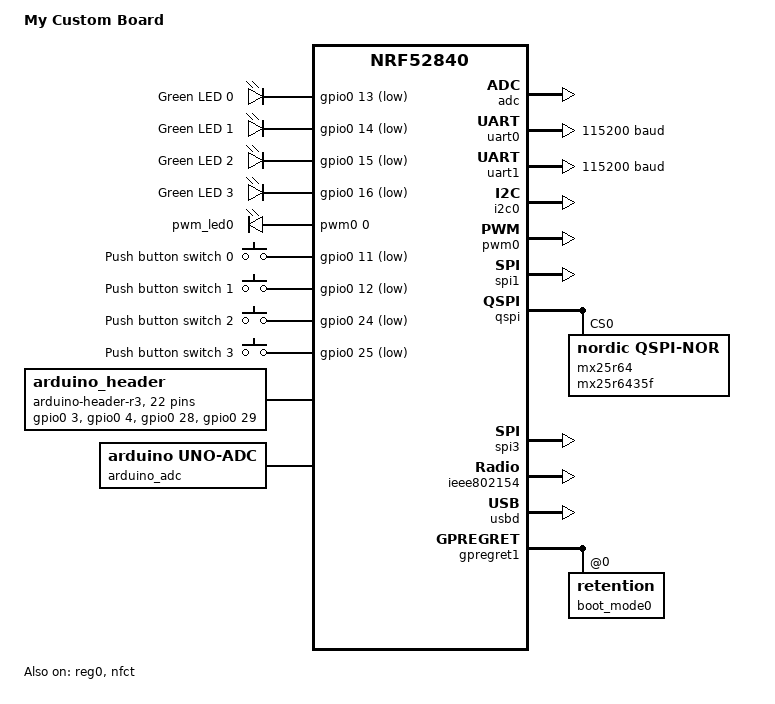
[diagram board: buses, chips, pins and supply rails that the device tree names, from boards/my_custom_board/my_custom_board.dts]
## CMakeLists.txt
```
cmake_minimum_required(VERSION 3.20.0)

list(APPEND BOARD_ROOT ${CMAKE_CURRENT_SOURCE_DIR})
find_package(Zephyr REQUIRED)
project(my_zephyr_app)

target_sources(app PRIVATE src/main.cpp)

add_subdirectory(drivers/pas_driver)
```

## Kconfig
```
config APP_HEARTBEAT_PERIOD_MS
    int "App heartbeat period ms (100-2000)"
    range 100 2000
    default 500

source "Kconfig.zephyr"
rsource "drivers/pas_driver/Kconfig"
```

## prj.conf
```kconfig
CONFIG_GPIO=y
CONFIG_LOG=y
CONFIG_PAS_DRIVER=y
CONFIG_SHELL=y
```

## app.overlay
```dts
/ {
	aliases {
		app-led = &led0;
	};

	pas_driver0: pas_driver {
		compatible = "pas,driver";
		status = "okay";
		app-led = &led0;
	};
};
```

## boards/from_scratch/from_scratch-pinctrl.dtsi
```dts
&pinctrl {
	uart0_default: uart0_default {
		group1 {
			psels = <NRF_PSEL(UART_TX, 0, 6)>,
				<NRF_PSEL(UART_RTS, 0, 5)>;
		};

		group2 {
			psels = <NRF_PSEL(UART_RX, 0, 8)>,
				<NRF_PSEL(UART_CTS, 0, 7)>;
			bias-pull-up;
		};
	};

	uart0_sleep: uart0_sleep {
		group1 {
			psels = <NRF_PSEL(UART_TX, 0, 6)>,
				<NRF_PSEL(UART_RX, 0, 8)>,
				<NRF_PSEL(UART_RTS, 0, 5)>,
				<NRF_PSEL(UART_CTS, 0, 7)>;
			low-power-enable;
		};
	};
};
```

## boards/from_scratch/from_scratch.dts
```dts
/dts-v1/;
#include <nordic/nrf52840_qiaa.dtsi>
#include <nordic/nrf52840_partition.dtsi>
#include "from_scratch-pinctrl.dtsi"

/ {
	model = "From Scratch";
	compatible = "pas,from-scratch";

	chosen {
		zephyr,console = &uart0;
	};

	leds {
		compatible = "gpio-leds";

		led0: led_0 {
			gpios = <&gpio0 13 GPIO_ACTIVE_LOW>;
			label = "Green LED 0";
		};
	};

	aliases {
		led0 = &led0;
		watchdog0 = &wdt0;
	};
};

&reg0 {
	status = "okay";
};

&reg1 {
	regulator-initial-mode = <NRF5X_REG_MODE_DCDC>;
};

&gpiote {
	status = "okay";
};

&gpio0 {
	status = "okay";
};

&uart0 {
	compatible = "nordic,nrf-uarte";
	status = "okay";
	current-speed = <115200>;
	pinctrl-0 = <&uart0_default>;
	pinctrl-1 = <&uart0_sleep>;
	pinctrl-names = "default", "sleep";
};
```

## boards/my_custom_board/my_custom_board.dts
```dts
/*
 * Copyright (c) 2017 Linaro Limited
 *
 * SPDX-License-Identifier: Apache-2.0
 */

/dts-v1/;
#include <nordic/nrf52840_qiaa.dtsi>
#include <nordic/nrf52840_partition.dtsi>
#include "my_custom_board-pinctrl.dtsi"
#include <zephyr/dt-bindings/input/input-event-codes.h>

/ {
	model = "My Custom Board";
	compatible = "nordic,nrf52840-dk-nrf52840";

	chosen {
		zephyr,console = &uart0;
		zephyr,shell-uart = &uart0;
		zephyr,uart-mcumgr = &uart0;
		zephyr,bt-mon-uart = &uart0;
		zephyr,bt-c2h-uart = &uart0;
		zephyr,ieee802154 = &ieee802154;
		zephyr,boot-mode = &boot_mode0;
	};

	leds {
		compatible = "gpio-leds";

		led0: led_0 {
			gpios = <&gpio0 13 GPIO_ACTIVE_LOW>;
			label = "Green LED 0";
		};

		led1: led_1 {
			gpios = <&gpio0 14 GPIO_ACTIVE_LOW>;
			label = "Green LED 1";
		};

		led2: led_2 {
			gpios = <&gpio0 15 GPIO_ACTIVE_LOW>;
			label = "Green LED 2";
		};

		led3: led_3 {
			gpios = <&gpio0 16 GPIO_ACTIVE_LOW>;
			label = "Green LED 3";
		};
	};

	pwmleds {
		compatible = "pwm-leds";

		pwm_led0: pwm_led_0 {
			pwms = <&pwm0 0 PWM_MSEC(20) PWM_POLARITY_INVERTED>;
		};
	};

	buttons {
		compatible = "gpio-keys";

		button0: button_0 {
			gpios = <&gpio0 11 (GPIO_PULL_UP | GPIO_ACTIVE_LOW)>;
			label = "Push button switch 0";
			zephyr,code = <INPUT_KEY_0>;
		};

		button1: button_1 {
			gpios = <&gpio0 12 (GPIO_PULL_UP | GPIO_ACTIVE_LOW)>;
			label = "Push button switch 1";
			zephyr,code = <INPUT_KEY_1>;
		};

		button2: button_2 {
			gpios = <&gpio0 24 (GPIO_PULL_UP | GPIO_ACTIVE_LOW)>;
			label = "Push button switch 2";
			zephyr,code = <INPUT_KEY_2>;
		};

		button3: button_3 {
			gpios = <&gpio0 25 (GPIO_PULL_UP | GPIO_ACTIVE_LOW)>;
			label = "Push button switch 3";
			zephyr,code = <INPUT_KEY_3>;
		};
	};

	arduino_header: connector {
		compatible = "arduino-header-r3";
		#gpio-cells = <2>;
		gpio-map-mask = <0xffffffff 0xffffffc0>;
		gpio-map-pass-thru = <0 0x3f>;
		gpio-map = <0 0 &gpio0 3 0>,	/* A0 */
			   <1 0 &gpio0 4 0>,	/* A1 */
			   <2 0 &gpio0 28 0>,	/* A2 */
			   <3 0 &gpio0 29 0>,	/* A3 */
			   <4 0 &gpio0 30 0>,	/* A4 */
			   <5 0 &gpio0 31 0>,	/* A5 */
			   <6 0 &gpio1 1 0>,	/* D0 */
			   <7 0 &gpio1 2 0>,	/* D1 */
			   <8 0 &gpio1 3 0>,	/* D2 */
			   <9 0 &gpio1 4 0>,	/* D3 */
			   <10 0 &gpio1 5 0>,	/* D4 */
			   <11 0 &gpio1 6 0>,	/* D5 */
			   <12 0 &gpio1 7 0>,	/* D6 */
			   <13 0 &gpio1 8 0>,	/* D7 */
			   <14 0 &gpio1 10 0>,	/* D8 */
			   <15 0 &gpio1 11 0>,	/* D9 */
			   <16 0 &gpio1 12 0>,	/* D10 */
			   <17 0 &gpio1 13 0>,	/* D11 */
			   <18 0 &gpio1 14 0>,	/* D12 */
			   <19 0 &gpio1 15 0>,	/* D13 */
			   <20 0 &gpio0 26 0>,	/* D14 */
			   <21 0 &gpio0 27 0>;	/* D15 */
	};

	arduino_adc: analog-connector {
		compatible = "arduino,uno-adc";
		#io-channel-cells = <1>;
		io-channel-map = <0 &adc 1>,	/* A0 = P0.3 = AIN1 */
				 <1 &adc 2>,	/* A1 = P0.4 = AIN2 */
				 <2 &adc 4>,	/* A2 = P0.28 = AIN4 */
				 <3 &adc 5>,	/* A3 = P0.29 = AIN5 */
				 <4 &adc 6>,	/* A4 = P0.30 = AIN6 */
				 <5 &adc 7>;	/* A5 = P0.31 = AIN7 */
	};

	/* These aliases are provided for compatibility with samples */
	aliases {
		led0 = &led0;
		led1 = &led1;
		led2 = &led2;
		led3 = &led3;
		pwm-led0 = &pwm_led0;
		sw0 = &button0;
		sw1 = &button1;
		sw2 = &button2;
		sw3 = &button3;
		bootloader-led0 = &led0;
		mcuboot-button0 = &button0;
		mcuboot-led0 = &led0;
		watchdog0 = &wdt0;
	};
};

&reg0 {
	status = "okay";
};

&reg1 {
	regulator-initial-mode = <NRF5X_REG_MODE_DCDC>;
};

&adc {
	status = "okay";
};

&uicr {
	gpio-as-nreset;
};

&gpiote {
	status = "okay";
};

&nfct {
	status = "okay";
};

&gpio0 {
	status = "okay";
	gpio-reserved-ranges = <0 2>, <6 1>, <8 3>, <17 7>;
	gpio-line-names = "XL1", "XL2", "AREF", "A0", "A1", "RTS", "TXD",
		"CTS", "RXD", "NFC1", "NFC2", "BUTTON1", "BUTTON2", "LED1",
		"LED2", "LED3", "LED4", "QSPI CS", "RESET", "QSPI CLK",
		"QSPI DIO0", "QSPI DIO1", "QSPI DIO2", "QSPI DIO3","BUTTON3",
		"BUTTON4", "SDA", "SCL", "A2", "A3", "A4", "A5";
};

&gpio1 {
	status = "okay";
	gpio-line-names = "", "D0", "D1", "D2", "D3", "D4", "D5", "D6",
		"D7", "", "D8", "D9", "D10", "D11", "D12", "D13";
};

&uart0 {
	compatible = "nordic,nrf-uarte";
	status = "okay";
	current-speed = <115200>;
	pinctrl-0 = <&uart0_default>;
	pinctrl-1 = <&uart0_sleep>;
	pinctrl-names = "default", "sleep";
};

arduino_serial: &uart1 {
	current-speed = <115200>;
	pinctrl-0 = <&uart1_default>;
	pinctrl-1 = <&uart1_sleep>;
	pinctrl-names = "default", "sleep";
};

arduino_i2c: &i2c0 {
	compatible = "nordic,nrf-twi";
	status = "okay";
	pinctrl-0 = <&i2c0_default>;
	pinctrl-1 = <&i2c0_sleep>;
	pinctrl-names = "default", "sleep";
};

&i2c1 {
	compatible = "nordic,nrf-twi";
	/* Cannot be used together with spi1. */
	/* status = "okay"; */
	pinctrl-0 = <&i2c1_default>;
	pinctrl-1 = <&i2c1_sleep>;
	pinctrl-names = "default", "sleep";
};

&pwm0 {
	status = "okay";
	pinctrl-0 = <&pwm0_default>;
	pinctrl-1 = <&pwm0_sleep>;
	pinctrl-names = "default", "sleep";
};

&spi0 {
	compatible = "nordic,nrf-spi";
	/* Cannot be used together with i2c0. */
	/* status = "okay"; */
	pinctrl-0 = <&spi0_default>;
	pinctrl-1 = <&spi0_sleep>;
	pinctrl-names = "default", "sleep";
};

&spi1 {
	compatible = "nordic,nrf-spi";
	status = "okay";
	pinctrl-0 = <&spi1_default>;
	pinctrl-1 = <&spi1_sleep>;
	pinctrl-names = "default", "sleep";
};

&spi2 {
	compatible = "nordic,nrf-spi";
	status = "disabled";
	pinctrl-0 = <&spi2_default>;
	pinctrl-1 = <&spi2_sleep>;
	pinctrl-names = "default", "sleep";
};

&qspi {
	status = "okay";
	pinctrl-0 = <&qspi_default>;
	pinctrl-1 = <&qspi_sleep>;
	pinctrl-names = "default", "sleep";

	mx25r64: mx25r6435f@0 {
		compatible = "nordic,qspi-nor";
		reg = <0>;
		/* MX25R64 supports only pp and pp4io */
		writeoc = "pp4io";
		/* MX25R64 supports all readoc options */
		readoc = "read4io";
		sck-frequency = <8000000>;
		jedec-id = [c2 28 17];
		sfdp-bfp = [
			e5 20 f1 ff  ff ff ff 03  44 eb 08 6b  08 3b 04 bb
			ee ff ff ff  ff ff 00 ff  ff ff 00 ff  0c 20 0f 52
			10 d8 00 ff  23 72 f5 00  82 ed 04 cc  44 83 68 44
			30 b0 30 b0  f7 c4 d5 5c  00 be 29 ff  f0 d0 ff ff
		];
		size = <67108864>;
		has-dpd;
		t-enter-dpd = <10000>;
		t-exit-dpd = <35000>;
	};
};

arduino_spi: &spi3 {
	status = "okay";
	cs-gpios = <&arduino_header 16 GPIO_ACTIVE_LOW>; /* D10 */
	pinctrl-0 = <&spi3_default>;
	pinctrl-1 = <&spi3_sleep>;
	pinctrl-names = "default", "sleep";
};

&ieee802154 {
	status = "okay";
};

zephyr_udc0: &usbd {
	compatible = "nordic,nrf-usbd";
	status = "okay";
};

&gpregret1 {
	status = "okay";

	boot_mode0: boot_mode@0 {
		compatible = "zephyr,retention";
		status = "okay";
		reg = <0x0 0x1>;
	};
};
```

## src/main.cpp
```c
#include <zephyr/drivers/sensor.h>
#include <zephyr/kernel.h>
#include <zephyr/logging/log.h>
#include "pas_driver.h"

LOG_MODULE_REGISTER(main, LOG_LEVEL_INF);

int main(void)
{
    const struct device *dev = DEVICE_DT_GET_ANY(pas_driver);
    struct sensor_value val;

    if (!device_is_ready(dev)) {
        return -ENODEV;
    }

    pas_enable_toggle_counter(dev, true);

    while (1) {
        (void)sensor_sample_fetch(dev); /* LED on */
        k_msleep(CONFIG_APP_HEARTBEAT_PERIOD_MS);
        (void)sensor_channel_get(dev, SENSOR_CHAN_AMBIENT_TEMP, &val); /* LED off */
        k_msleep(CONFIG_APP_HEARTBEAT_PERIOD_MS);

        LOG_INF("toggle count: %d (%s)", val.val1, val.val2 ? "counting" : "frozen");
    }

    return 0;
}
```
